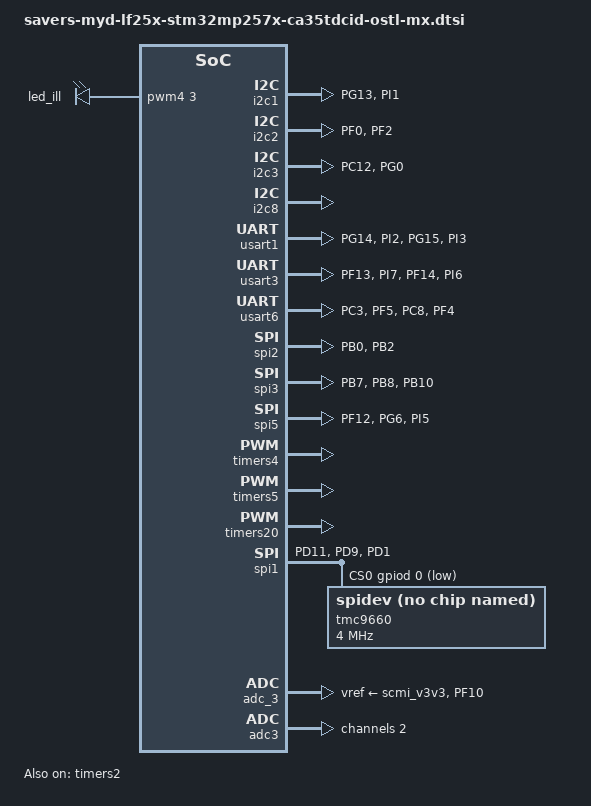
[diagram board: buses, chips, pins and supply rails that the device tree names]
// SPDX-License-Identifier: (GPL-2.0-only OR BSD-3-Clause)
/*
 * Copyright (C) Savers 2026 - All Rights Reserved
 */

#include <dt-bindings/pwm/pwm.h>

&pinctrl {
	i2c1_pins_mx: i2c1_mx-0 {
		pins {
			pinmux = <STM32_PINMUX('G', 13, AF9)>, /* I2C1_SCL */
				 <STM32_PINMUX('I', 1, AF9)>; /* I2C1_SDA */
			bias-disable;
			drive-open-drain;
			slew-rate = <0>;
		};
	};
	i2c1_sleep_pins_mx: i2c1_sleep_mx-0 {
		pins {
			pinmux = <STM32_PINMUX('G', 13, ANALOG)>, /* I2C1_SCL */
				 <STM32_PINMUX('I', 1, ANALOG)>; /* I2C1_SDA */
		};
	};

	i2c2_pins_mx: i2c2_mx-0 {
		pins {
			pinmux = <STM32_PINMUX('F', 0, AF9)>, /* I2C2_SDA */
				 <STM32_PINMUX('F', 2, AF9)>; /* I2C2_SCL */
			bias-disable;
			drive-open-drain;
			slew-rate = <0>;
		};
	};
	i2c2_sleep_pins_mx: i2c2_sleep_mx-0 {
		pins {
			pinmux = <STM32_PINMUX('F', 0, ANALOG)>, /* I2C2_SDA */
				 <STM32_PINMUX('F', 2, ANALOG)>; /* I2C2_SCL */
		};
	};

	i2c3_pins_mx: i2c3_mx-0 {
		pins {
			pinmux = <STM32_PINMUX('C', 12, AF9)>, /* I2C3_SCL */
				 <STM32_PINMUX('G', 0, AF9)>; /* I2C3_SDA */
			bias-disable;
			drive-open-drain;
			slew-rate = <0>;
		};
	};
	i2c3_sleep_pins_mx: i2c3_sleep_mx-0 {
		pins {
			pinmux = <STM32_PINMUX('C', 12, ANALOG)>, /* I2C3_SCL */
				 <STM32_PINMUX('G', 0, ANALOG)>; /* I2C3_SDA */
		};
	};

	spi2_pins_mx: spi2_mx-0 {
		pins {
			pinmux = <STM32_PINMUX('B', 0, AF2)>, /* SPI2_SCK */
				 <STM32_PINMUX('B', 2, AF2)>; /* SPI2_MOSI */
			bias-disable;
			drive-push-pull;
			slew-rate = <0>;
		};
	};
	spi2_sleep_pins_mx: spi2_sleep_mx-0 {
		pins {
			pinmux = <STM32_PINMUX('B', 0, ANALOG)>, /* SPI2_SCK */
				 <STM32_PINMUX('B', 2, ANALOG)>; /* SPI2_MOSI */
		};
	};

	spi3_pins_mx: spi3_mx-0 {
		pins {
			pinmux = <STM32_PINMUX('B', 7, AF1)>, /* SPI3_SCK */
				 <STM32_PINMUX('B', 8, AF1)>, /* SPI3_MOSI */
				 <STM32_PINMUX('B', 10, AF1)>; /* SPI3_MISO */
			bias-disable;
			drive-push-pull;
			slew-rate = <0>;
		};
	};
	spi3_sleep_pins_mx: spi3_sleep_mx-0 {
		pins {
			pinmux = <STM32_PINMUX('B', 7, ANALOG)>, /* SPI3_SCK */
				 <STM32_PINMUX('B', 8, ANALOG)>, /* SPI3_MOSI */
				 <STM32_PINMUX('B', 10, ANALOG)>; /* SPI3_MISO */
		};
	};

	spi5_pins_mx: spi5_mx-0 {
		pins {
			pinmux = <STM32_PINMUX('F', 12, AF2)>, /* SPI5_MISO */
				 <STM32_PINMUX('G', 6, AF2)>, /* SPI5_SCK */
				 <STM32_PINMUX('I', 5, AF2)>; /* SPI5_MOSI */
			bias-disable;
			drive-push-pull;
			slew-rate = <0>;
		};
	};
	spi5_sleep_pins_mx: spi5_sleep_mx-0 {
		pins {
			pinmux = <STM32_PINMUX('F', 12, ANALOG)>, /* SPI5_MISO */
				 <STM32_PINMUX('G', 6, ANALOG)>, /* SPI5_SCK */
				 <STM32_PINMUX('I', 5, ANALOG)>; /* SPI5_MOSI */
		};
	};

	tim2_pins_mx: tim2_mx-0 {
		pins {
			pinmux = <STM32_PINMUX('H', 5, AF7)>, /* TIM2_CH1 (ENC_A) */
				 <STM32_PINMUX('F', 15, AF7)>, /* TIM2_CH2 (ENC_B) */
				 <STM32_PINMUX('F', 7, AF7)>; /* TIM2_ETR (ENC_N) */
			bias-disable;
		};
	};
	tim2_sleep_pins_mx: tim2_sleep_mx-0 {
		pins {
			pinmux = <STM32_PINMUX('H', 5, ANALOG)>, /* TIM2_CH1 (ENC_A) */
				 <STM32_PINMUX('F', 15, ANALOG)>, /* TIM2_CH2 (ENC_B) */
				 <STM32_PINMUX('F', 7, ANALOG)>; /* TIM2_ETR (ENC_N) */
		};
	};

	tim4_pins_mx: tim4_mx-0 {
		pins {
			pinmux = <STM32_PINMUX('D', 6, AF9)>; /* TIM4_CH3 */
			bias-disable;
			drive-push-pull;
			slew-rate = <0>;
		};
	};
	tim4_sleep_pins_mx: tim4_sleep_mx-0 {
		pins {
			pinmux = <STM32_PINMUX('D', 6, ANALOG)>; /* TIM4_CH3 */
		};
	};
	tim4_pwm_pins_mx: tim4_pwm_mx-0 {
		pins {
			pinmux = <STM32_PINMUX('D', 5, AF9)>, /* TIM4_CH2 (EXP_HEADER) */
				 <STM32_PINMUX('D', 7, AF9)>; /* TIM4_CH4 (LED_ILL) */
			bias-disable;
			drive-push-pull;
			slew-rate = <0>;
		};
	};
	tim4_pwm_sleep_pins_mx: tim4_pwm_sleep_mx-0 {
		pins {
			pinmux = <STM32_PINMUX('D', 5, ANALOG)>, /* TIM4_CH2 (EXP_HEADER) */
				 <STM32_PINMUX('D', 7, ANALOG)>; /* TIM4_CH4 (LED_ILL) */
		};
	};

	tim5_pwm_pins_mx: tim5_pwm_mx-0 {
		pins {
			pinmux = <STM32_PINMUX('G', 9, AF8)>; /* TIM5_CH4 (PWM_FAN) */
			bias-disable;
			drive-push-pull;
			slew-rate = <0>;
		};
	};
	tim5_pwm_sleep_pins_mx: tim5_pwm_sleep_mx-0 {
		pins {
			pinmux = <STM32_PINMUX('G', 9, ANALOG)>; /* TIM5_CH4 (PWM_FAN) */
		};
	};

	tim20_pwm_pins_mx: tim20_pwm_mx-0 {
		pins {
			pinmux = <STM32_PINMUX('B', 6, AF8)>; /* TIM20_CH1N */
			bias-disable;
			drive-push-pull;
			slew-rate = <0>;
		};
	};
	tim20_pwm_sleep_pins_mx: tim20_pwm_sleep_mx-0 {
		pins {
			pinmux = <STM32_PINMUX('B', 6, ANALOG)>; /* TIM20_CH1N */
		};
	};

	usart1_pins_mx: usart1_mx-0 {
		pins1 {
			pinmux = <STM32_PINMUX('G', 14, AF6)>, /* USART1_TX */
				 <STM32_PINMUX('I', 2, AF6)>; /* USART1_RTS */
			bias-disable;
			drive-push-pull;
			slew-rate = <0>;
		};
		pins2 {
			pinmux = <STM32_PINMUX('G', 15, AF6)>, /* USART1_RX */
				 <STM32_PINMUX('I', 3, AF6)>; /* USART1_CTS */
			bias-disable;
			drive-push-pull;
		};
	};
	usart1_idle_pins_mx: usart1_idle_mx-0 {
		pins1 {
			pinmux = <STM32_PINMUX('G', 14, ANALOG)>, /* USART1_TX */
				 <STM32_PINMUX('I', 3, ANALOG)>; /* USART1_CTS */
		};
		pins2 {
			pinmux = <STM32_PINMUX('G', 15, AF6)>; /* USART1_RX */
			bias-disable;
			drive-push-pull;
		};
		pins3 {
			pinmux = <STM32_PINMUX('I', 2, AF6)>; /* USART1_RTS */
			bias-disable;
			drive-push-pull;
			slew-rate = <0>;
		};
	};
	usart1_sleep_pins_mx: usart1_sleep_mx-0 {
		pins {
			pinmux = <STM32_PINMUX('G', 14, ANALOG)>, /* USART1_TX */
				 <STM32_PINMUX('G', 15, ANALOG)>, /* USART1_RX */
				 <STM32_PINMUX('I', 2, ANALOG)>, /* USART1_RTS */
				 <STM32_PINMUX('I', 3, ANALOG)>; /* USART1_CTS */
		};
	};

	usart3_pins_mx: usart3_mx-0 {
		pins1 {
			pinmux = <STM32_PINMUX('F', 13, AF6)>, /* USART3_CTS */
				 <STM32_PINMUX('I', 7, AF6)>; /* USART3_RX */
			bias-disable;
			drive-push-pull;
		};
		pins2 {
			pinmux = <STM32_PINMUX('F', 14, AF6)>, /* USART3_RTS */
				 <STM32_PINMUX('I', 6, AF6)>; /* USART3_TX */
			bias-disable;
			drive-push-pull;
			slew-rate = <0>;
		};
	};
	usart3_idle_pins_mx: usart3_idle_mx-0 {
		pins1 {
			pinmux = <STM32_PINMUX('F', 13, ANALOG)>, /* USART3_CTS */
				 <STM32_PINMUX('I', 6, ANALOG)>; /* USART3_TX */
		};
		pins2 {
			pinmux = <STM32_PINMUX('F', 14, AF6)>; /* USART3_RTS */
			bias-disable;
			drive-push-pull;
			slew-rate = <0>;
		};
		pins3 {
			pinmux = <STM32_PINMUX('I', 7, AF6)>; /* USART3_RX */
			bias-disable;
			drive-push-pull;
		};
	};
	usart3_sleep_pins_mx: usart3_sleep_mx-0 {
		pins {
			pinmux = <STM32_PINMUX('F', 13, ANALOG)>, /* USART3_CTS */
				 <STM32_PINMUX('F', 14, ANALOG)>, /* USART3_RTS */
				 <STM32_PINMUX('I', 6, ANALOG)>, /* USART3_TX */
				 <STM32_PINMUX('I', 7, ANALOG)>; /* USART3_RX */
		};
	};

	usart6_pins_mx: usart6_mx-0 {
		pins1 {
			pinmux = <STM32_PINMUX('C', 3, AF6)>, /* USART6_RTS */
				 <STM32_PINMUX('F', 5, AF6)>; /* USART6_TX */
			bias-disable;
			drive-push-pull;
			slew-rate = <0>;
		};
		pins2 {
			pinmux = <STM32_PINMUX('C', 8, AF6)>, /* USART6_CTS */
				 <STM32_PINMUX('F', 4, AF6)>; /* USART6_RX */
			bias-disable;
			drive-push-pull;
		};
	};
	usart6_idle_pins_mx: usart6_idle_mx-0 {
		pins1 {
			pinmux = <STM32_PINMUX('C', 3, AF6)>; /* USART6_RTS */
			bias-disable;
			drive-push-pull;
			slew-rate = <0>;
		};
		pins2 {
			pinmux = <STM32_PINMUX('C', 8, ANALOG)>, /* USART6_CTS */
				 <STM32_PINMUX('F', 5, ANALOG)>; /* USART6_TX */
		};
		pins3 {
			pinmux = <STM32_PINMUX('F', 4, AF6)>; /* USART6_RX */
			bias-disable;
			drive-push-pull;
		};
	};
	usart6_sleep_pins_mx: usart6_sleep_mx-0 {
		pins {
			pinmux = <STM32_PINMUX('C', 3, ANALOG)>, /* USART6_RTS */
				 <STM32_PINMUX('C', 8, ANALOG)>, /* USART6_CTS */
				 <STM32_PINMUX('F', 4, ANALOG)>, /* USART6_RX */
				 <STM32_PINMUX('F', 5, ANALOG)>; /* USART6_TX */
		};
	};

	adc12_pins_mx: adc12_mx-0 {
		pins {
			pinmux = <STM32_PINMUX('G', 1, ANALOG)>; /* ADC1_INP6 (THERM) */
		};
	};

	/* --- Peripherals CubeMX assigned to the M33, exposed in Linux on request --- */

	spi1_pins_mx: spi1_mx-0 {
		pins {
			pinmux = <STM32_PINMUX('D', 11, AF2)>, /* SPI1_SCK */
				 <STM32_PINMUX('D', 9, AF2)>, /* SPI1_MOSI */
				 <STM32_PINMUX('D', 1, AF2)>; /* SPI1_MISO */
			bias-disable;
			drive-push-pull;
			slew-rate = <0>;
		};
	};
	spi1_sleep_pins_mx: spi1_sleep_mx-0 {
		pins {
			pinmux = <STM32_PINMUX('D', 11, ANALOG)>, /* SPI1_SCK */
				 <STM32_PINMUX('D', 9, ANALOG)>, /* SPI1_MOSI */
				 <STM32_PINMUX('D', 1, ANALOG)>; /* SPI1_MISO */
		};
	};

	adc3_pins_mx: adc3_mx-0 {
		pins {
			pinmux = <STM32_PINMUX('F', 10, ANALOG)>; /* ADC3_INP2 */
		};
	};
};

&pinctrl_z {
	i2c8_pins_z_mx: i2c8_mx-0 {
		pins {
			pinmux = <STM32_PINMUX('Z', 3, AF8)>, /* I2C8_SDA */
				 <STM32_PINMUX('Z', 4, AF8)>; /* I2C8_SCL */
			bias-disable;
			drive-open-drain;
			slew-rate = <0>;
		};
	};
	i2c8_sleep_pins_z_mx: i2c8_sleep_mx-0 {
		pins {
			pinmux = <STM32_PINMUX('Z', 3, ANALOG)>, /* I2C8_SDA */
				 <STM32_PINMUX('Z', 4, ANALOG)>; /* I2C8_SCL */
		};
	};
};

/* ------------------------- Controller enables ------------------------- */

&i2c1 {
	pinctrl-names = "default", "sleep";
	pinctrl-0 = <&i2c1_pins_mx>;
	pinctrl-1 = <&i2c1_sleep_pins_mx>;
	status = "okay";
};

&i2c2 {
	pinctrl-names = "default", "sleep";
	pinctrl-0 = <&i2c2_pins_mx>;
	pinctrl-1 = <&i2c2_sleep_pins_mx>;
	status = "okay";
};

&i2c3 {
	pinctrl-names = "default", "sleep";
	pinctrl-0 = <&i2c3_pins_mx>;
	pinctrl-1 = <&i2c3_sleep_pins_mx>;
	status = "okay";
};

&i2c8 {
	pinctrl-names = "default", "sleep";
	pinctrl-0 = <&i2c8_pins_z_mx>;
	pinctrl-1 = <&i2c8_sleep_pins_z_mx>;
	status = "okay";
};

&usart1 {
	pinctrl-names = "default", "idle", "sleep";
	pinctrl-0 = <&usart1_pins_mx>;
	pinctrl-1 = <&usart1_idle_pins_mx>;
	pinctrl-2 = <&usart1_sleep_pins_mx>;
	status = "okay";
};

&usart3 {
	pinctrl-names = "default", "idle", "sleep";
	pinctrl-0 = <&usart3_pins_mx>;
	pinctrl-1 = <&usart3_idle_pins_mx>;
	pinctrl-2 = <&usart3_sleep_pins_mx>;
	status = "okay";
};

&usart6 {
	pinctrl-names = "default", "idle", "sleep";
	pinctrl-0 = <&usart6_pins_mx>;
	pinctrl-1 = <&usart6_idle_pins_mx>;
	pinctrl-2 = <&usart6_sleep_pins_mx>;
	status = "okay";
};

/*
 * SPI controllers are enabled with their CubeMX pinmux. Chip-selects are kept
 * as GPIOs (see gpio-line-names: DISPLAY_CS, EXPAN_CS). Add cs-gpios and the
 * SPI child device nodes when the actual devices are wired up.
 */
&spi2 {
	pinctrl-names = "default", "sleep";
	pinctrl-0 = <&spi2_pins_mx>;
	pinctrl-1 = <&spi2_sleep_pins_mx>;
	status = "okay";
};

&spi3 {
	pinctrl-names = "default", "sleep";
	pinctrl-0 = <&spi3_pins_mx>;
	pinctrl-1 = <&spi3_sleep_pins_mx>;
	status = "okay";
};

&spi5 {
	pinctrl-names = "default", "sleep";
	pinctrl-0 = <&spi5_pins_mx>;
	pinctrl-1 = <&spi5_sleep_pins_mx>;
	status = "okay";
};

/*
 * PWM outputs (RGB / illumination LEDs on TIM4, fan on TIM5_CH4, TIM20_CH1N).
 * Per the st,stm32mp25-timers binding, pinctrl lives on the `pwm` child node,
 * not the parent timer.
 */
&timers4 {
	status = "okay";
	pwm4: pwm {
		pinctrl-names = "default", "sleep";
		pinctrl-0 = <&tim4_pwm_pins_mx>, <&tim4_pins_mx>;
		pinctrl-1 = <&tim4_pwm_sleep_pins_mx>, <&tim4_sleep_pins_mx>;
		status = "okay";
	};
};

/*
 * LED_ILL (TIM4_CH4/PD7) drives an opto-isolator + MOSFET stage that is
 * hardware-inverted (schematic sheet 17 "RGB Outputs": PWM high => LED off,
 * PWM low => LED on, "*INVERTED PWM TO POWER"). PWM_POLARITY_INVERTED here
 * makes the LED class's brightness 0 = off / max = full, so callers don't
 * need to invert duty-cycle math themselves.
 */
/ {
	pwm-leds {
		compatible = "pwm-leds";

		led-0 {
			label = "led_ill";
			pwms = <&pwm4 3 100000 PWM_POLARITY_INVERTED>;
			max-brightness = <255>;
		};
	};
};

&timers5 {
	status = "okay";
	pwm5: pwm {
		pinctrl-names = "default", "sleep";
		pinctrl-0 = <&tim5_pwm_pins_mx>;
		pinctrl-1 = <&tim5_pwm_sleep_pins_mx>;
		status = "okay";
	};
};

&timers20 {
	status = "okay";
	pwm {
		pinctrl-names = "default", "sleep";
		pinctrl-0 = <&tim20_pwm_pins_mx>;
		pinctrl-1 = <&tim20_pwm_sleep_pins_mx>;
		status = "okay";
	};
};

/* --- Peripherals CubeMX assigned to the M33, exposed in Linux on request --- */

&spi1 {
	pinctrl-names = "default", "sleep";
	pinctrl-0 = <&spi1_pins_mx>;
	pinctrl-1 = <&spi1_sleep_pins_mx>;
	cs-gpios = <&gpiod 0 GPIO_ACTIVE_LOW>;	/* STM_AX_SPI1_CS (PD0) */
	status = "okay";

	tmc9660@0 {
		compatible = "rohm,dh2228fv"; /* generic spidev binding */
		reg = <0>;
		/* TMC9660 SPI tops out at 16 MHz; 4 MHz is a safe bring-up rate. */
		spi-max-frequency = <4000000>;
		/* TMC9660 SPI is mode 3 (CPOL=1, CPHA=1). */
		spi-cpol;
		spi-cpha;
	};
};

&adc_3 {
	pinctrl-names = "default";
	pinctrl-0 = <&adc3_pins_mx>;
	vdda-supply = <&scmi_v3v3>;
	vref-supply = <&scmi_v3v3>;	/* ADC reference rail = 3V3 */
	status = "okay";
};

&adc3 {
	status = "okay";
	channel@2 {
		reg = <2>;		/* PF10 = ADC3_INP2 */
		st,min-sample-time-ns = <400>;
	};
};

&timers2 {
	status = "okay";

	counter {
		pinctrl-names = "default", "sleep";
		pinctrl-0 = <&tim2_pins_mx>;
		pinctrl-1 = <&tim2_sleep_pins_mx>;
		status = "okay";
	};
};

/* ----------------- GPIO line names (from CubeMX labels) ----------------- */

&gpioa {
	gpio-line-names =
		"", "STM_AX_FLT1", "STM_AX_RST2", "STM_AX_WAKE0",		/* PA0-PA3 */
		"", "STM_AX_RST0", "STM_AX_RST1", "STM_AX_FLT0";		/* PA4-PA7 */
};

&gpiob {
	gpio-line-names =
		"", "MOM0", "", "DISPLAY_CS",		/* PB0-PB3 */
		"PNP3", "PNP6", "", "",				/* PB4-PB7 */
		"", "STM_AX_EN0", "", "EXPAN_CS";	/* PB8-PB11 */
};

&gpioc {
	gpio-line-names =
		"", "", "", "",												/* PC0-PC3 */
		"SOLENOID2", "BUTTON_USER1", "STM_AX_FLT2", "EEPROM_WC",	/* PC4-PC7 */
		"", "SOLENOID0", "USB3_EN";									/* PC8-PC10 */
};

&gpiod {
	gpio-line-names =
		"STM_AX_SPI1_CS", "", "STM_AX_EN2", "uSD_DETECT",	/* PD0-PD3 */
		"DISPLAY_DC", "", "EXPAN_GPIO_0", "",				/* PD4-PD7 */
		"RES_N", "", "STM_AX_EN1";							/* PD8-PD10 */
};

&gpiof {
	gpio-line-names =
		"", "", "", "",							/* PF0-PF3 */
		"", "", "STM_AX_WAKE2", "",				/* PF4-PF7 (PF7 = ENC_N, TIM2_ETR) */
		"ADC_ALERT", "SOLENOID1", "", "MOM3",	/* PF8-PF11 */
		"", "", "", "";							/* PF12-PF15 (PF15 = ENC_B, TIM2_CH2) */
};

&gpiog {
	gpio-line-names =
		"", "", "BT_HOST_WAKE", "PNP7",					/* PG0-PG3 */
		"BT_REG_ON", "EXPAN_GPIO_1", "", "BT_PCM_WS",	/* PG4-PG7 */
		"WL_REG_ON", "", "MOM1", "WL_HOST_WAKE",		/* PG8-PG11 */
		"MOM2";											/* PG12 */
};

&gpioh {
	gpio-line-names =
		"", "", "USBSW_OE", "USB3SW_S",		/* PH0-PH3 */
		"LED1", "", "", "",					/* PH4-PH7 (PH5 = ENC_A, TIM2_CH1) */
		"STM_AX_WAKE1";						/* PH8 */
};

&gpioi {
	gpio-line-names =
		"PNP4", "", "", "",				/* PI0-PI3 */
		"ETH1_PHY_RST", "", "", "",		/* PI4-PI7 */
		"", "PNP1", "PNP0";				/* PI8-PI10 */
};

&gpioz {
	gpio-line-names =
		"PNP2", "EXPAN_GPIO_2", "PNP8", "",	/* PZ0-PZ3 */
		"", "PNP5", "", "",					/* PZ4-PZ7 */
		"", "PNP9";							/* PZ8-PZ9 */
};
